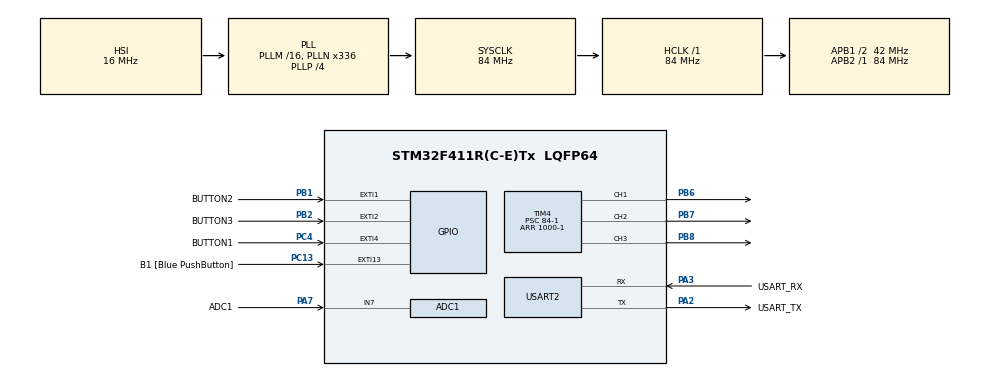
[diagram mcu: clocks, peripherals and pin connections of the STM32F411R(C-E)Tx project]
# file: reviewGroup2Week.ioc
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ADC1.Channel-0\#ChannelRegularConversion=ADC_CHANNEL_7
ADC1.ContinuousConvMode=ENABLE
ADC1.NbrOfConversionFlag=1
ADC1.Rank-0\#ChannelRegularConversion=1
ADC1.SamplingTime-0\#ChannelRegularConversion=ADC_SAMPLETIME_56CYCLES
ADC1.ScanConvMode=DISABLE
ADC1.master=1
Mcu.Family=STM32F4
Mcu.Name=STM32F411R(C-E)Tx
Mcu.Package=LQFP64
NVIC.EXTI1_IRQn=true\:0\:0\:false\:false\:true\:true\:true\:true
NVIC.EXTI2_IRQn=true\:0\:0\:false\:false\:true\:true\:true\:true
NVIC.EXTI4_IRQn=true\:0\:0\:false\:false\:true\:true\:true\:true
NVIC.PriorityGroup=NVIC_PRIORITYGROUP_0
NVIC.TIM3_IRQn=true\:0\:0\:false\:false\:true\:true\:true\:true
PA13.GPIO_Label=TMS
PA13.Mode=Serial_Wire
PA13.Signal=SYS_JTMS-SWDIO
PA14.GPIO_Label=TCK
PA14.Mode=Serial_Wire
PA14.Signal=SYS_JTCK-SWCLK
PA2.GPIO_Label=USART_TX
PA2.Mode=Asynchronous
PA2.Signal=USART2_TX
PA3.GPIO_Label=USART_RX
PA3.Mode=Asynchronous
PA3.Signal=USART2_RX
PA7.GPIO_Label=ADC1
PA7.Signal=ADCx_IN7
PB1.GPIO_Label=BUTTON2
PB1.GPIO_PuPd=GPIO_PULLUP
PB1.Signal=GPXTI1
PB2.GPIO_Label=BUTTON3
PB2.GPIO_PuPd=GPIO_PULLUP
PB2.Signal=GPXTI2
PB3.GPIO_Label=SWO
PB3.Signal=SYS_JTDO-SWO
PB6.Signal=S_TIM4_CH1
PB7.Signal=S_TIM4_CH2
PB8.Signal=S_TIM4_CH3
PC13-ANTI_TAMP.GPIO_Label=B1 [Blue PushButton]
PC13-ANTI_TAMP.GPIO_ModeDefaultEXTI=GPIO_MODE_IT_FALLING
PC13-ANTI_TAMP.Signal=GPXTI13
PC14-OSC32_IN.Mode=LSE-External-Oscillator
PC14-OSC32_IN.Signal=RCC_OSC32_IN
PC15-OSC32_OUT.Mode=LSE-External-Oscillator
PC15-OSC32_OUT.Signal=RCC_OSC32_OUT
PC4.GPIO_Label=BUTTON1
PC4.GPIO_ModeDefaultEXTI=GPIO_MODE_IT_FALLING
PC4.GPIO_PuPd=GPIO_PULLUP
PC4.Signal=GPXTI4
PH0\ -\ OSC_IN.Mode=HSE-External-Clock-Source
PH0\ -\ OSC_IN.Signal=RCC_OSC_IN
PH1\ -\ OSC_OUT.Mode=HSE-External-Clock-Source
PH1\ -\ OSC_OUT.Signal=RCC_OSC_OUT
ProjectManager.HeapSize=0x200
ProjectManager.StackSize=0x400
ProjectManager.TargetToolchain=STM32CubeIDE
RCC.48MHZClocksFreq_Value=84000000
RCC.AHBFreq_Value=84000000
RCC.APB1CLKDivider=RCC_HCLK_DIV2
RCC.APB1Freq_Value=42000000
RCC.APB1TimFreq_Value=84000000
RCC.APB2Freq_Value=84000000
RCC.APB2TimFreq_Value=84000000
RCC.CortexFreq_Value=84000000
RCC.FLatency-AdvancedSettings=FLASH_LATENCY_2
RCC.HCLKFreq_Value=84000000
RCC.HSE_VALUE=8000000
RCC.HSI_VALUE=16000000
RCC.PLLN=336
RCC.PLLP=RCC_PLLP_DIV4
RCC.SYSCLKFreq_VALUE=84000000
RCC.SYSCLKSource=RCC_SYSCLKSOURCE_PLLCLK
RCC.VCOOutputFreq_Value=336000000
SH.ADCx_IN7.0=ADC1_IN7,IN7
SH.S_TIM4_CH1.0=TIM4_CH1,PWM Generation1 CH1
SH.S_TIM4_CH2.0=TIM4_CH2,PWM Generation2 CH2
SH.S_TIM4_CH3.0=TIM4_CH3,PWM Generation3 CH3
TIM3.Period=10000-1
TIM3.Prescaler=8400-1
TIM4.Channel-PWM\ Generation1\ CH1=TIM_CHANNEL_1
TIM4.Channel-PWM\ Generation2\ CH2=TIM_CHANNEL_2
TIM4.Channel-PWM\ Generation3\ CH3=TIM_CHANNEL_3
TIM4.Period=1000-1
TIM4.Prescaler=84-1
TIM4.Pulse-PWM\ Generation1\ CH1=500-1
TIM4.Pulse-PWM\ Generation2\ CH2=500-1
TIM4.Pulse-PWM\ Generation3\ CH3=500-1
USART2.VirtualMode=VM_ASYNC
VP_TIM3_VS_ClockSourceINT.Mode=Internal
VP_TIM4_VS_ClockSourceINT.Mode=Internal
board=NUCLEO-F411RE

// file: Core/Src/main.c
/* USER CODE BEGIN Header */
/**
  ******************************************************************************
  * @file           : main.c
  * @brief          : Main program body
  ******************************************************************************
  * @attention
  *
  * Copyright (c) 2025 STMicroelectronics.
  * All rights reserved.
  *
  * This software is licensed under terms that can be found in the LICENSE file
  * in the root directory of this software component.
  * If no LICENSE file comes with this software, it is provided AS-IS.
  *
  ******************************************************************************
  */
/* USER CODE END Header */
#include "main.h"

/* USER CODE BEGIN Includes */
#include <stdbool.h> // bool타입 변수를 사용하기 위한 헤더파일
#include <stdio.h>
/* USER CODE END Includes */

/* USER CODE BEGIN PD */
#ifdef __GNUC__
/* With GCC, small printf (option LD Linker->Libraries->Small printf
 set to 'Yes') calls __io_putchar() */
#define PUTCHAR_PROTOTYPE int __io_putchar(int ch)
#else
#define PUTCHAR_PROTOTYPE int fputc(int ch, FILE *f)
#endif /* __GNUC__ */
/* USER CODE END PD */

ADC_HandleTypeDef hadc1;

TIM_HandleTypeDef htim3;
TIM_HandleTypeDef htim4;

UART_HandleTypeDef huart2;

/* USER CODE BEGIN PV */
volatile bool Flag = false; // 버튼 입력시 변경되는 플래그
volatile int secCnt = 0; // 1초마다 증가하는 변수
volatile int yelloLightSec = 0; // 노란불
volatile int redLightSec = 2; // 빨간불
volatile int greenLightSec = 5; // 초록불
volatile int reYelloLightSec = 10; // 다시 노란불
volatile int lightMode;
uint32_t rawAdc;  // ADC 읽은 값
uint32_t duty;    // PWM 듀티비 값
/* USER CODE END PV */

void SystemClock_Config(void);
static void MX_GPIO_Init(void);
static void MX_USART2_UART_Init(void);
static void MX_TIM3_Init(void);
static void MX_ADC1_Init(void);
static void MX_TIM4_Init(void);

int main(void)
{

  /* MCU Configuration--------------------------------------------------------*/

  /* Reset of all peripherals, Initializes the Flash interface and the Systick. */
  HAL_Init();

  /* Configure the system clock */
  SystemClock_Config();

  /* Initialize all configured peripherals */
  MX_GPIO_Init();
  MX_USART2_UART_Init();
  MX_TIM3_Init();
  MX_ADC1_Init();
  MX_TIM4_Init();
  /* USER CODE BEGIN 2 */
  HAL_TIM_Base_Start_IT(&htim3); // TIM3 인터럽트 시작
  HAL_TIM_PWM_Start(&htim4, TIM_CHANNEL_1);
  HAL_TIM_PWM_Start(&htim4, TIM_CHANNEL_2);
  HAL_TIM_PWM_Start(&htim4, TIM_CHANNEL_3);
  /* USER CODE END 2 */

  /* Infinite loop */
  /* USER CODE BEGIN WHILE */
  while (1)
  {
	  HAL_ADC_Start(&hadc1);
	  if(Flag){
		  if(secCnt >= greenLightSec){
			  secCnt = 0;
		  }
		  Flag = false;
	  }
	  if (HAL_ADC_PollForConversion(&hadc1, 10) == HAL_OK)
	  {
		  rawAdc = HAL_ADC_GetValue(&hadc1); // 0 ~ 4095
	  }
	  //printf("%lu\n", rawAdc);

	  // ADC 값을 ARR 범위로 매핑 (예: ARR=999)
	  duty = (rawAdc * __HAL_TIM_GET_AUTORELOAD(&htim4)) / 4095;

	  switch(lightMode){
		  case 1:
			  __HAL_TIM_SET_COMPARE(&htim4, TIM_CHANNEL_1, duty);
			  htim4.Instance->CCR2 = 0;
			  htim4.Instance->CCR3 = 0;
			break;
		  case 2:
			  htim4.Instance->CCR1 = 0;
			  __HAL_TIM_SET_COMPARE(&htim4, TIM_CHANNEL_2, duty);
			  htim4.Instance->CCR3 = 0;
			break;
		  case 3:
			  htim4.Instance->CCR1 = 0;
			  htim4.Instance->CCR2 = 0;
			  __HAL_TIM_SET_COMPARE(&htim4, TIM_CHANNEL_3, duty);
			break;
	  }
    /* USER CODE END WHILE */

  }
}

void SystemClock_Config(void)
{
  RCC_OscInitTypeDef RCC_OscInitStruct = {0};
  RCC_ClkInitTypeDef RCC_ClkInitStruct = {0};

  /** Configure the main internal regulator output voltage
  */
  __HAL_RCC_PWR_CLK_ENABLE();
  __HAL_PWR_VOLTAGESCALING_CONFIG(PWR_REGULATOR_VOLTAGE_SCALE1);

  /** Initializes the RCC Oscillators according to the specified parameters
  * in the RCC_OscInitTypeDef structure.
  */
  RCC_OscInitStruct.OscillatorType = RCC_OSCILLATORTYPE_HSI;
  RCC_OscInitStruct.HSIState = RCC_HSI_ON;
  RCC_OscInitStruct.HSICalibrationValue = RCC_HSICALIBRATION_DEFAULT;
  RCC_OscInitStruct.PLL.PLLState = RCC_PLL_ON;
  RCC_OscInitStruct.PLL.PLLSource = RCC_PLLSOURCE_HSI;
  RCC_OscInitStruct.PLL.PLLM = 16;
  RCC_OscInitStruct.PLL.PLLN = 336;
  RCC_OscInitStruct.PLL.PLLP = RCC_PLLP_DIV4;
  RCC_OscInitStruct.PLL.PLLQ = 4;
  if (HAL_RCC_OscConfig(&RCC_OscInitStruct) != HAL_OK)
  {
    Error_Handler();
  }

  /** Initializes the CPU, AHB and APB buses clocks
  */
  RCC_ClkInitStruct.ClockType = RCC_CLOCKTYPE_HCLK|RCC_CLOCKTYPE_SYSCLK
                              |RCC_CLOCKTYPE_PCLK1|RCC_CLOCKTYPE_PCLK2;
  RCC_ClkInitStruct.SYSCLKSource = RCC_SYSCLKSOURCE_PLLCLK;
  RCC_ClkInitStruct.AHBCLKDivider = RCC_SYSCLK_DIV1;
  RCC_ClkInitStruct.APB1CLKDivider = RCC_HCLK_DIV2;
  RCC_ClkInitStruct.APB2CLKDivider = RCC_HCLK_DIV1;

  if (HAL_RCC_ClockConfig(&RCC_ClkInitStruct, FLASH_LATENCY_2) != HAL_OK)
  {
    Error_Handler();
  }
}

static void MX_ADC1_Init(void)
{

  ADC_ChannelConfTypeDef sConfig = {0};

  /** Configure the global features of the ADC (Clock, Resolution, Data Alignment and number of conversion)
  */
  hadc1.Instance = ADC1;
  hadc1.Init.ClockPrescaler = ADC_CLOCK_SYNC_PCLK_DIV4;
  hadc1.Init.Resolution = ADC_RESOLUTION_12B;
  hadc1.Init.ScanConvMode = DISABLE;
  hadc1.Init.ContinuousConvMode = ENABLE;
  hadc1.Init.DiscontinuousConvMode = DISABLE;
  hadc1.Init.ExternalTrigConvEdge = ADC_EXTERNALTRIGCONVEDGE_NONE;
  hadc1.Init.ExternalTrigConv = ADC_SOFTWARE_START;
  hadc1.Init.DataAlign = ADC_DATAALIGN_RIGHT;
  hadc1.Init.NbrOfConversion = 1;
  hadc1.Init.DMAContinuousRequests = DISABLE;
  hadc1.Init.EOCSelection = ADC_EOC_SINGLE_CONV;
  if (HAL_ADC_Init(&hadc1) != HAL_OK)
  {
    Error_Handler();
  }

  /** Configure for the selected ADC regular channel its corresponding rank in the sequencer and its sample time.
  */
  sConfig.Channel = ADC_CHANNEL_7;
  sConfig.Rank = 1;
  sConfig.SamplingTime = ADC_SAMPLETIME_56CYCLES;
  if (HAL_ADC_ConfigChannel(&hadc1, &sConfig) != HAL_OK)
  {
    Error_Handler();
  }

}

static void MX_TIM3_Init(void)
{

  TIM_ClockConfigTypeDef sClockSourceConfig = {0};
  TIM_MasterConfigTypeDef sMasterConfig = {0};

  htim3.Instance = TIM3;
  htim3.Init.Prescaler = 8400-1;
  htim3.Init.CounterMode = TIM_COUNTERMODE_UP;
  htim3.Init.Period = 10000-1;
  htim3.Init.ClockDivision = TIM_CLOCKDIVISION_DIV1;
  htim3.Init.AutoReloadPreload = TIM_AUTORELOAD_PRELOAD_DISABLE;
  if (HAL_TIM_Base_Init(&htim3) != HAL_OK)
  {
    Error_Handler();
  }
  sClockSourceConfig.ClockSource = TIM_CLOCKSOURCE_INTERNAL;
  if (HAL_TIM_ConfigClockSource(&htim3, &sClockSourceConfig) != HAL_OK)
  {
    Error_Handler();
  }
  sMasterConfig.MasterOutputTrigger = TIM_TRGO_RESET;
  sMasterConfig.MasterSlaveMode = TIM_MASTERSLAVEMODE_DISABLE;
  if (HAL_TIMEx_MasterConfigSynchronization(&htim3, &sMasterConfig) != HAL_OK)
  {
    Error_Handler();
  }

}

static void MX_TIM4_Init(void)
{

  TIM_ClockConfigTypeDef sClockSourceConfig = {0};
  TIM_MasterConfigTypeDef sMasterConfig = {0};
  TIM_OC_InitTypeDef sConfigOC = {0};

  htim4.Instance = TIM4;
  htim4.Init.Prescaler = 84-1;
  htim4.Init.CounterMode = TIM_COUNTERMODE_UP;
  htim4.Init.Period = 1000-1;
  htim4.Init.ClockDivision = TIM_CLOCKDIVISION_DIV1;
  htim4.Init.AutoReloadPreload = TIM_AUTORELOAD_PRELOAD_DISABLE;
  if (HAL_TIM_Base_Init(&htim4) != HAL_OK)
  {
    Error_Handler();
  }
  sClockSourceConfig.ClockSource = TIM_CLOCKSOURCE_INTERNAL;
  if (HAL_TIM_ConfigClockSource(&htim4, &sClockSourceConfig) != HAL_OK)
  {
    Error_Handler();
  }
  if (HAL_TIM_PWM_Init(&htim4) != HAL_OK)
  {
    Error_Handler();
  }
  sMasterConfig.MasterOutputTrigger = TIM_TRGO_RESET;
  sMasterConfig.MasterSlaveMode = TIM_MASTERSLAVEMODE_DISABLE;
  if (HAL_TIMEx_MasterConfigSynchronization(&htim4, &sMasterConfig) != HAL_OK)
  {
    Error_Handler();
  }
  sConfigOC.OCMode = TIM_OCMODE_PWM1;
  sConfigOC.Pulse = 500-1;
  sConfigOC.OCPolarity = TIM_OCPOLARITY_HIGH;
  sConfigOC.OCFastMode = TIM_OCFAST_DISABLE;
  if (HAL_TIM_PWM_ConfigChannel(&htim4, &sConfigOC, TIM_CHANNEL_1) != HAL_OK)
  {
    Error_Handler();
  }
  if (HAL_TIM_PWM_ConfigChannel(&htim4, &sConfigOC, TIM_CHANNEL_2) != HAL_OK)
  {
    Error_Handler();
  }
  if (HAL_TIM_PWM_ConfigChannel(&htim4, &sConfigOC, TIM_CHANNEL_3) != HAL_OK)
  {
    Error_Handler();
  }
  HAL_TIM_MspPostInit(&htim4);

}

static void MX_USART2_UART_Init(void)
{

  huart2.Instance = USART2;
  huart2.Init.BaudRate = 115200;
  huart2.Init.WordLength = UART_WORDLENGTH_8B;
  huart2.Init.StopBits = UART_STOPBITS_1;
  huart2.Init.Parity = UART_PARITY_NONE;
  huart2.Init.Mode = UART_MODE_TX_RX;
  huart2.Init.HwFlowCtl = UART_HWCONTROL_NONE;
  huart2.Init.OverSampling = UART_OVERSAMPLING_16;
  if (HAL_UART_Init(&huart2) != HAL_OK)
  {
    Error_Handler();
  }

}

static void MX_GPIO_Init(void)
{
  GPIO_InitTypeDef GPIO_InitStruct = {0};

  /* GPIO Ports Clock Enable */
  __HAL_RCC_GPIOC_CLK_ENABLE();
  __HAL_RCC_GPIOH_CLK_ENABLE();
  __HAL_RCC_GPIOA_CLK_ENABLE();
  __HAL_RCC_GPIOB_CLK_ENABLE();

  /*Configure GPIO pin : B1_Pin */
  GPIO_InitStruct.Pin = B1_Pin;
  GPIO_InitStruct.Mode = GPIO_MODE_IT_FALLING;
  GPIO_InitStruct.Pull = GPIO_NOPULL;
  HAL_GPIO_Init(B1_GPIO_Port, &GPIO_InitStruct);

  /*Configure GPIO pin : BUTTON1_Pin */
  GPIO_InitStruct.Pin = BUTTON1_Pin;
  GPIO_InitStruct.Mode = GPIO_MODE_IT_FALLING;
  GPIO_InitStruct.Pull = GPIO_PULLUP;
  HAL_GPIO_Init(BUTTON1_GPIO_Port, &GPIO_InitStruct);

  /*Configure GPIO pins : BUTTON2_Pin BUTTON3_Pin */
  GPIO_InitStruct.Pin = BUTTON2_Pin|BUTTON3_Pin;
  GPIO_InitStruct.Mode = GPIO_MODE_IT_RISING;
  GPIO_InitStruct.Pull = GPIO_PULLUP;
  HAL_GPIO_Init(GPIOB, &GPIO_InitStruct);

  /* EXTI interrupt init*/
  HAL_NVIC_SetPriority(EXTI1_IRQn, 0, 0);
  HAL_NVIC_EnableIRQ(EXTI1_IRQn);

  HAL_NVIC_SetPriority(EXTI2_IRQn, 0, 0);
  HAL_NVIC_EnableIRQ(EXTI2_IRQn);

  HAL_NVIC_SetPriority(EXTI4_IRQn, 0, 0);
  HAL_NVIC_EnableIRQ(EXTI4_IRQn);

}

/* USER CODE BEGIN 4 */
/**
  * @brief  Retargets the C library printf function to the USART.
  * @param  None
  * @retval None
  */
PUTCHAR_PROTOTYPE
{
  /* Place your implementation of fputc here */
  /* e.g. write a character to the USART6 and Loop until the end of transmission */
  HAL_UART_Transmit(&huart2, (uint8_t *)&ch, 1, 0xFFFF);

  return ch;
}
void HAL_GPIO_EXTI_Callback(uint16_t GPIO_Pin){ // 버튼 인터럽트
	if(GPIO_Pin == BUTTON1_Pin){
		Flag = true;
	}
	else if(GPIO_Pin == BUTTON2_Pin){
		if(reYelloLightSec - greenLightSec <= 10 ){
			reYelloLightSec++;
			printf("2\n");
		}
	}
	else if(GPIO_Pin == BUTTON3_Pin){
		if(reYelloLightSec - greenLightSec > 2){
			reYelloLightSec--;
			printf("3\n");
		}
	}
}

void HAL_TIM_PeriodElapsedCallback(TIM_HandleTypeDef *htim)
{
    if (htim->Instance == TIM3) { // TIM3: 1초마다 인터럽트 발생
        // 1초마다 실행됨
        if(secCnt == yelloLightSec){
        	lightMode = 1;
        }
        else if(secCnt == redLightSec){
        	lightMode = 2;
        }
        else if(secCnt == greenLightSec){
        	lightMode = 3;
        }
        else if(secCnt == reYelloLightSec){
        	lightMode = 1;
        	secCnt = -1;
        }
    	secCnt++;
    }
}
/* USER CODE END 4 */

void Error_Handler(void)
{
  __disable_irq();
  while (1)
  {
  }
}
